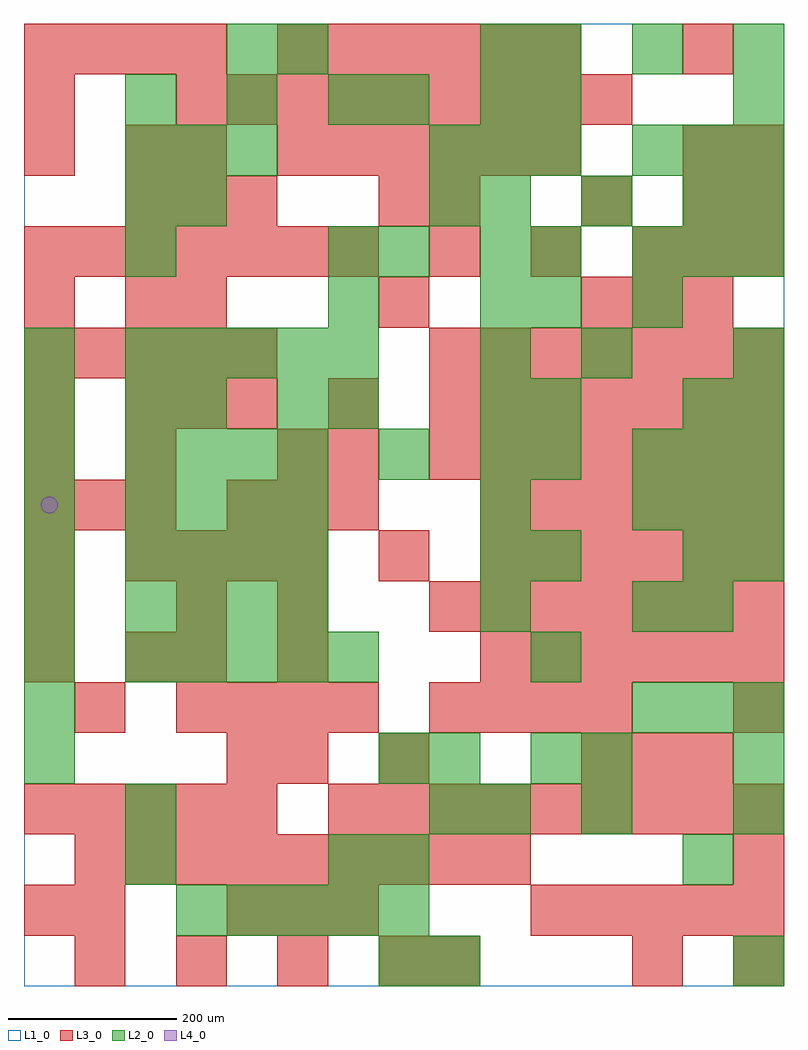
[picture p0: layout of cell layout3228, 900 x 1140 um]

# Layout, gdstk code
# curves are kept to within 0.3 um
import gdstk
lib = gdstk.Library(unit=1e-6, precision=1e-09)
def R(c, l, rs):  # rectangles x0, y0, x1, y1
    for r in rs: c.add(gdstk.rectangle(r[:2], r[2:], *l))
def A(c, l, x, y, w, h, nx, ny, dx, dy):  # array of equal rectangles
    R(c, l, [(x+i*dx, y+j*dy, x+i*dx+w, y+j*dy+h) for i in range(nx) for j in range(ny)])
def P(c, l, *ps):  # polygons
    for p in ps: c.add(gdstk.Polygon(p, *l))
L1_0 = (1, 0)
L2_0 = (2, 0)
L3_0 = (3, 0)
L4_0 = (4, 0)

layout3228 = lib.new_cell('layout3228')
R(layout3228, L1_0, [(0,0,900,1140)])
A(layout3228, L2_0, 420, 0, 60, 60, 1, 3, 0, 120)
A(layout3228, L2_0, 180, 60, 60, 60, 5, 1, 60, 0)
A(layout3228, L2_0, 0, 240, 60, 60, 1, 9, 0, 60)
A(layout3228, L2_0, 600, 240, 60, 60, 1, 4, 0, 120)
A(layout3228, L2_0, 720, 300, 60, 60, 3, 2, 60, 240)
A(layout3228, L2_0, 120, 360, 60, 60, 5, 2, 60, 360)
A(layout3228, L2_0, 120, 420, 60, 60, 4, 4, 60, 60)
A(layout3228, L2_0, 540, 420, 60, 60, 1, 8, 0, 60)
A(layout3228, L2_0, 720, 600, 60, 60, 3, 2, 60, 240)
A(layout3228, L2_0, 540, 900, 60, 60, 3, 1, 120, 0)
A(layout3228, L2_0, 120, 960, 60, 60, 3, 1, 60, 0)
A(layout3228, L2_0, 480, 960, 60, 60, 3, 1, 60, 0)
A(layout3228, L2_0, 720, 960, 60, 60, 3, 1, 60, 0)
A(layout3228, L2_0, 120, 1020, 60, 60, 3, 1, 120, 0)
A(layout3228, L2_0, 600, 1080, 60, 60, 3, 1, 120, 0)
R(layout3228, L2_0, [(480,0,540,60), (840,0,900,60), (120,120,180,180), (360,120,420,180), (780,120,840,180), (120,180,180,240), (480,180,540,240), (540,180,600,240), (660,180,720,240), (840,180,900,240), (480,240,540,300), (660,240,720,300), (840,240,900,300), (720,420,780,480), (780,420,840,480), (780,480,840,540), (840,480,900,540), (420,600,480,660), (120,660,180,720), (180,660,240,720), (300,660,360,720), (360,660,420,720), (600,660,660,720), (780,660,840,720), (840,660,900,720), (660,720,720,780), (840,720,900,780), (360,780,420,840), (600,780,660,840), (720,780,780,840), (120,840,180,900), (360,840,420,900), (420,840,480,900), (600,840,660,900), (120,900,180,960), (180,900,240,960), (480,900,540,960), (840,900,900,960), (420,1020,480,1080), (540,1020,600,1080), (600,1020,660,1080), (840,1020,900,1080), (240,1080,300,1140), (300,1080,360,1140), (540,1080,600,1140)])
A(layout3228, L3_0, 60, 0, 60, 60, 4, 1, 120, 0)
A(layout3228, L3_0, 240, 60, 60, 60, 3, 2, 60, 480)
A(layout3228, L3_0, 600, 60, 60, 60, 5, 1, 60, 0)
A(layout3228, L3_0, 60, 120, 60, 60, 9, 1, 60, 0)
A(layout3228, L3_0, 0, 180, 60, 60, 5, 2, 60, 540)
A(layout3228, L3_0, 360, 180, 60, 60, 9, 1, 60, 0)
A(layout3228, L3_0, 660, 240, 60, 60, 3, 1, 60, 0)
A(layout3228, L3_0, 180, 300, 60, 60, 4, 1, 60, 0)
A(layout3228, L3_0, 480, 300, 60, 60, 4, 1, 60, 0)
A(layout3228, L3_0, 0, 360, 60, 60, 1, 3, 0, 60)
A(layout3228, L3_0, 540, 360, 60, 60, 6, 2, 60, 120)
A(layout3228, L3_0, 480, 420, 60, 60, 7, 2, 60, 180)
A(layout3228, L3_0, 120, 480, 60, 60, 4, 1, 60, 0)
A(layout3228, L3_0, 0, 540, 60, 60, 3, 1, 60, 0)
A(layout3228, L3_0, 540, 540, 60, 60, 6, 1, 60, 0)
A(layout3228, L3_0, 120, 600, 60, 60, 1, 3, 0, 180)
A(layout3228, L3_0, 120, 660, 60, 60, 3, 2, 60, 240)
A(layout3228, L3_0, 480, 660, 60, 60, 7, 2, 60, 60)
A(layout3228, L3_0, 180, 780, 60, 60, 3, 1, 240, 0)
A(layout3228, L3_0, 780, 780, 60, 60, 1, 4, 0, 60)
A(layout3228, L3_0, 0, 840, 60, 60, 7, 1, 60, 0)
A(layout3228, L3_0, 480, 840, 60, 60, 3, 1, 120, 0)
A(layout3228, L3_0, 840, 840, 60, 60, 1, 3, 0, 60)
A(layout3228, L3_0, 300, 960, 60, 60, 6, 2, 60, 120)
A(layout3228, L3_0, 180, 1020, 60, 60, 9, 1, 60, 0)
A(layout3228, L3_0, 0, 1080, 60, 60, 4, 1, 60, 0)
R(layout3228, L3_0, [(480,0,540,60), (720,0,780,60), (840,0,900,60), (0,60,60,120), (60,60,120,120), (840,120,900,180), (240,240,300,300), (300,240,360,300), (420,240,480,300), (60,300,120,360), (840,300,900,360), (120,360,180,420), (180,360,240,420), (300,360,360,420), (180,420,240,480), (300,420,360,480), (420,480,480,540), (0,600,60,660), (300,600,360,660), (360,600,420,660), (0,660,60,720), (360,660,420,720), (0,780,60,840), (720,780,780,840), (420,900,480,960), (480,900,540,960), (660,900,720,960), (0,960,60,1020), (180,960,240,1020), (0,1020,60,1080), (780,1080,840,1140)])
P(layout3228, L4_0, [(40,570),(39.239,573.827),(37.071,577.071),(33.827,579.239),(30,580),(26.173,579.239),(22.929,577.071),(20.761,573.827),(20,570),(20.761,566.173),(22.929,562.929),(26.173,560.761),(30,560),(33.827,560.761),(37.071,562.929),(39.239,566.173)])

lib.write_gds('layout3228.gds')
